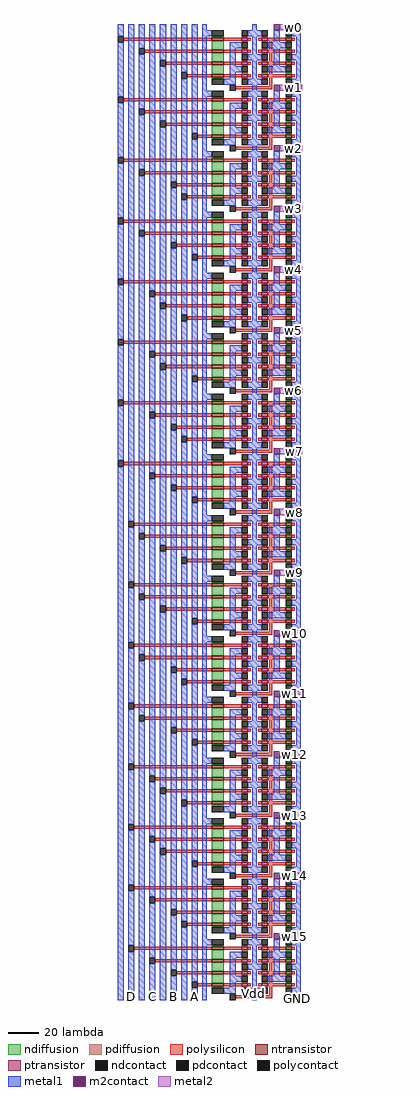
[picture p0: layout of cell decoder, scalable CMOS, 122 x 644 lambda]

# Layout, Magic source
magic
tech scmos
<< ntransistor >>
rect 13 530 21 532
rect 62 530 66 532
rect 13 522 21 524
rect 62 522 66 524
rect 13 514 21 516
rect 62 514 66 516
rect 13 506 21 508
rect 62 506 66 508
rect 13 490 21 492
rect 62 490 66 492
rect 13 482 21 484
rect 62 482 66 484
rect 13 474 21 476
rect 62 474 66 476
rect 13 466 21 468
rect 62 466 66 468
rect 13 450 21 452
rect 62 450 66 452
rect 13 442 21 444
rect 62 442 66 444
rect 13 434 21 436
rect 62 434 66 436
rect 13 426 21 428
rect 62 426 66 428
rect 13 410 21 412
rect 62 410 66 412
rect 13 402 21 404
rect 62 402 66 404
rect 13 394 21 396
rect 62 394 66 396
rect 13 386 21 388
rect 62 386 66 388
rect 13 370 21 372
rect 62 370 66 372
rect 13 362 21 364
rect 62 362 66 364
rect 13 354 21 356
rect 62 354 66 356
rect 13 346 21 348
rect 62 346 66 348
rect 13 330 21 332
rect 62 330 66 332
rect 13 322 21 324
rect 62 322 66 324
rect 13 314 21 316
rect 62 314 66 316
rect 13 306 21 308
rect 62 306 66 308
rect 13 290 21 292
rect 62 290 66 292
rect 13 282 21 284
rect 62 282 66 284
rect 13 274 21 276
rect 62 274 66 276
rect 13 266 21 268
rect 62 266 66 268
rect 13 250 21 252
rect 62 250 66 252
rect 13 242 21 244
rect 62 242 66 244
rect 13 234 21 236
rect 62 234 66 236
rect 13 226 21 228
rect 62 226 66 228
rect 13 210 21 212
rect 62 210 66 212
rect 13 202 21 204
rect 62 202 66 204
rect 13 194 21 196
rect 62 194 66 196
rect 13 186 21 188
rect 62 186 66 188
rect 13 170 21 172
rect 62 170 66 172
rect 13 162 21 164
rect 62 162 66 164
rect 13 154 21 156
rect 62 154 66 156
rect 13 146 21 148
rect 62 146 66 148
rect 13 130 21 132
rect 62 130 66 132
rect 13 122 21 124
rect 62 122 66 124
rect 13 114 21 116
rect 62 114 66 116
rect 13 106 21 108
rect 62 106 66 108
rect 13 90 21 92
rect 62 90 66 92
rect 13 82 21 84
rect 62 82 66 84
rect 13 74 21 76
rect 62 74 66 76
rect 13 66 21 68
rect 62 66 66 68
rect 13 50 21 52
rect 62 50 66 52
rect 13 42 21 44
rect 62 42 66 44
rect 13 34 21 36
rect 62 34 66 36
rect 13 26 21 28
rect 62 26 66 28
rect 13 10 21 12
rect 62 10 66 12
rect 13 2 21 4
rect 62 2 66 4
rect 13 -6 21 -4
rect 62 -6 66 -4
rect 13 -14 21 -12
rect 62 -14 66 -12
rect 13 -30 21 -28
rect 62 -30 66 -28
rect 13 -38 21 -36
rect 62 -38 66 -36
rect 13 -46 21 -44
rect 62 -46 66 -44
rect 13 -54 21 -52
rect 62 -54 66 -52
rect 13 -70 21 -68
rect 62 -70 66 -68
rect 13 -78 21 -76
rect 62 -78 66 -76
rect 13 -86 21 -84
rect 62 -86 66 -84
rect 13 -94 21 -92
rect 62 -94 66 -92
<< ptransistor >>
rect 33 530 37 532
rect 46 530 50 532
rect 33 522 37 524
rect 46 522 50 524
rect 33 514 37 516
rect 46 514 50 516
rect 33 506 37 508
rect 46 506 50 508
rect 33 490 37 492
rect 46 490 50 492
rect 33 482 37 484
rect 46 482 50 484
rect 33 474 37 476
rect 46 474 50 476
rect 33 466 37 468
rect 46 466 50 468
rect 33 450 37 452
rect 46 450 50 452
rect 33 442 37 444
rect 46 442 50 444
rect 33 434 37 436
rect 46 434 50 436
rect 33 426 37 428
rect 46 426 50 428
rect 33 410 37 412
rect 46 410 50 412
rect 33 402 37 404
rect 46 402 50 404
rect 33 394 37 396
rect 46 394 50 396
rect 33 386 37 388
rect 46 386 50 388
rect 33 370 37 372
rect 46 370 50 372
rect 33 362 37 364
rect 46 362 50 364
rect 33 354 37 356
rect 46 354 50 356
rect 33 346 37 348
rect 46 346 50 348
rect 33 330 37 332
rect 46 330 50 332
rect 33 322 37 324
rect 46 322 50 324
rect 33 314 37 316
rect 46 314 50 316
rect 33 306 37 308
rect 46 306 50 308
rect 33 290 37 292
rect 46 290 50 292
rect 33 282 37 284
rect 46 282 50 284
rect 33 274 37 276
rect 46 274 50 276
rect 33 266 37 268
rect 46 266 50 268
rect 33 250 37 252
rect 46 250 50 252
rect 33 242 37 244
rect 46 242 50 244
rect 33 234 37 236
rect 46 234 50 236
rect 33 226 37 228
rect 46 226 50 228
rect 33 210 37 212
rect 46 210 50 212
rect 33 202 37 204
rect 46 202 50 204
rect 33 194 37 196
rect 46 194 50 196
rect 33 186 37 188
rect 46 186 50 188
rect 33 170 37 172
rect 46 170 50 172
rect 33 162 37 164
rect 46 162 50 164
rect 33 154 37 156
rect 46 154 50 156
rect 33 146 37 148
rect 46 146 50 148
rect 33 130 37 132
rect 46 130 50 132
rect 33 122 37 124
rect 46 122 50 124
rect 33 114 37 116
rect 46 114 50 116
rect 33 106 37 108
rect 46 106 50 108
rect 33 90 37 92
rect 46 90 50 92
rect 33 82 37 84
rect 46 82 50 84
rect 33 74 37 76
rect 46 74 50 76
rect 33 66 37 68
rect 46 66 50 68
rect 33 50 37 52
rect 46 50 50 52
rect 33 42 37 44
rect 46 42 50 44
rect 33 34 37 36
rect 46 34 50 36
rect 33 26 37 28
rect 46 26 50 28
rect 33 10 37 12
rect 46 10 50 12
rect 33 2 37 4
rect 46 2 50 4
rect 33 -6 37 -4
rect 46 -6 50 -4
rect 33 -14 37 -12
rect 46 -14 50 -12
rect 33 -30 37 -28
rect 46 -30 50 -28
rect 33 -38 37 -36
rect 46 -38 50 -36
rect 33 -46 37 -44
rect 46 -46 50 -44
rect 33 -54 37 -52
rect 46 -54 50 -52
rect 33 -70 37 -68
rect 46 -70 50 -68
rect 33 -78 37 -76
rect 46 -78 50 -76
rect 33 -86 37 -84
rect 46 -86 50 -84
rect 33 -94 37 -92
rect 46 -94 50 -92
<< ndiffusion >>
rect 13 532 21 533
rect 62 532 66 533
rect 13 524 21 530
rect 62 529 66 530
rect 62 524 66 525
rect 13 516 21 522
rect 62 521 66 522
rect 62 516 66 517
rect 13 508 21 514
rect 62 513 66 514
rect 62 508 66 509
rect 13 505 21 506
rect 62 505 66 506
rect 13 492 21 493
rect 62 492 66 493
rect 13 484 21 490
rect 62 489 66 490
rect 62 484 66 485
rect 13 476 21 482
rect 62 481 66 482
rect 62 476 66 477
rect 13 468 21 474
rect 62 473 66 474
rect 62 468 66 469
rect 13 465 21 466
rect 62 465 66 466
rect 13 452 21 453
rect 62 452 66 453
rect 13 444 21 450
rect 62 449 66 450
rect 62 444 66 445
rect 13 436 21 442
rect 62 441 66 442
rect 62 436 66 437
rect 13 428 21 434
rect 62 433 66 434
rect 62 428 66 429
rect 13 425 21 426
rect 62 425 66 426
rect 13 412 21 413
rect 62 412 66 413
rect 13 404 21 410
rect 62 409 66 410
rect 62 404 66 405
rect 13 396 21 402
rect 62 401 66 402
rect 62 396 66 397
rect 13 388 21 394
rect 62 393 66 394
rect 62 388 66 389
rect 13 385 21 386
rect 62 385 66 386
rect 13 372 21 373
rect 62 372 66 373
rect 13 364 21 370
rect 62 369 66 370
rect 62 364 66 365
rect 13 356 21 362
rect 62 361 66 362
rect 62 356 66 357
rect 13 348 21 354
rect 62 353 66 354
rect 62 348 66 349
rect 13 345 21 346
rect 62 345 66 346
rect 13 332 21 333
rect 62 332 66 333
rect 13 324 21 330
rect 62 329 66 330
rect 62 324 66 325
rect 13 316 21 322
rect 62 321 66 322
rect 62 316 66 317
rect 13 308 21 314
rect 62 313 66 314
rect 62 308 66 309
rect 13 305 21 306
rect 62 305 66 306
rect 13 292 21 293
rect 62 292 66 293
rect 13 284 21 290
rect 62 289 66 290
rect 62 284 66 285
rect 13 276 21 282
rect 62 281 66 282
rect 62 276 66 277
rect 13 268 21 274
rect 62 273 66 274
rect 62 268 66 269
rect 13 265 21 266
rect 62 265 66 266
rect 13 252 21 253
rect 62 252 66 253
rect 13 244 21 250
rect 62 249 66 250
rect 62 244 66 245
rect 13 236 21 242
rect 62 241 66 242
rect 62 236 66 237
rect 13 228 21 234
rect 62 233 66 234
rect 62 228 66 229
rect 13 225 21 226
rect 62 225 66 226
rect 13 212 21 213
rect 62 212 66 213
rect 13 204 21 210
rect 62 209 66 210
rect 62 204 66 205
rect 13 196 21 202
rect 62 201 66 202
rect 62 196 66 197
rect 13 188 21 194
rect 62 193 66 194
rect 62 188 66 189
rect 13 185 21 186
rect 62 185 66 186
rect 13 172 21 173
rect 62 172 66 173
rect 13 164 21 170
rect 62 169 66 170
rect 62 164 66 165
rect 13 156 21 162
rect 62 161 66 162
rect 62 156 66 157
rect 13 148 21 154
rect 62 153 66 154
rect 62 148 66 149
rect 13 145 21 146
rect 62 145 66 146
rect 13 132 21 133
rect 62 132 66 133
rect 13 124 21 130
rect 62 129 66 130
rect 62 124 66 125
rect 13 116 21 122
rect 62 121 66 122
rect 62 116 66 117
rect 13 108 21 114
rect 62 113 66 114
rect 62 108 66 109
rect 13 105 21 106
rect 62 105 66 106
rect 13 92 21 93
rect 62 92 66 93
rect 13 84 21 90
rect 62 89 66 90
rect 62 84 66 85
rect 13 76 21 82
rect 62 81 66 82
rect 62 76 66 77
rect 13 68 21 74
rect 62 73 66 74
rect 62 68 66 69
rect 13 65 21 66
rect 62 65 66 66
rect 13 52 21 53
rect 62 52 66 53
rect 13 44 21 50
rect 62 49 66 50
rect 62 44 66 45
rect 13 36 21 42
rect 62 41 66 42
rect 62 36 66 37
rect 13 28 21 34
rect 62 33 66 34
rect 62 28 66 29
rect 13 25 21 26
rect 62 25 66 26
rect 13 12 21 13
rect 62 12 66 13
rect 13 4 21 10
rect 62 9 66 10
rect 62 4 66 5
rect 13 -4 21 2
rect 62 1 66 2
rect 62 -4 66 -3
rect 13 -12 21 -6
rect 62 -7 66 -6
rect 62 -12 66 -11
rect 13 -15 21 -14
rect 62 -15 66 -14
rect 13 -28 21 -27
rect 62 -28 66 -27
rect 13 -36 21 -30
rect 62 -31 66 -30
rect 62 -36 66 -35
rect 13 -44 21 -38
rect 62 -39 66 -38
rect 62 -44 66 -43
rect 13 -52 21 -46
rect 62 -47 66 -46
rect 62 -52 66 -51
rect 13 -55 21 -54
rect 62 -55 66 -54
rect 13 -68 21 -67
rect 62 -68 66 -67
rect 13 -76 21 -70
rect 62 -71 66 -70
rect 62 -76 66 -75
rect 13 -84 21 -78
rect 62 -79 66 -78
rect 62 -84 66 -83
rect 13 -92 21 -86
rect 62 -87 66 -86
rect 62 -92 66 -91
rect 13 -95 21 -94
rect 62 -95 66 -94
<< pdiffusion >>
rect 33 532 37 533
rect 46 532 50 533
rect 33 529 37 530
rect 33 524 37 525
rect 46 529 50 530
rect 46 524 50 525
rect 33 521 37 522
rect 33 516 37 517
rect 46 521 50 522
rect 46 516 50 517
rect 33 513 37 514
rect 33 508 37 509
rect 46 513 50 514
rect 46 508 50 509
rect 33 505 37 506
rect 46 505 50 506
rect 33 492 37 493
rect 46 492 50 493
rect 33 489 37 490
rect 33 484 37 485
rect 46 489 50 490
rect 46 484 50 485
rect 33 481 37 482
rect 33 476 37 477
rect 46 481 50 482
rect 46 476 50 477
rect 33 473 37 474
rect 33 468 37 469
rect 46 473 50 474
rect 46 468 50 469
rect 33 465 37 466
rect 46 465 50 466
rect 33 452 37 453
rect 46 452 50 453
rect 33 449 37 450
rect 33 444 37 445
rect 46 449 50 450
rect 46 444 50 445
rect 33 441 37 442
rect 33 436 37 437
rect 46 441 50 442
rect 46 436 50 437
rect 33 433 37 434
rect 33 428 37 429
rect 46 433 50 434
rect 46 428 50 429
rect 33 425 37 426
rect 46 425 50 426
rect 33 412 37 413
rect 46 412 50 413
rect 33 409 37 410
rect 33 404 37 405
rect 46 409 50 410
rect 46 404 50 405
rect 33 401 37 402
rect 33 396 37 397
rect 46 401 50 402
rect 46 396 50 397
rect 33 393 37 394
rect 33 388 37 389
rect 46 393 50 394
rect 46 388 50 389
rect 33 385 37 386
rect 46 385 50 386
rect 33 372 37 373
rect 46 372 50 373
rect 33 369 37 370
rect 33 364 37 365
rect 46 369 50 370
rect 46 364 50 365
rect 33 361 37 362
rect 33 356 37 357
rect 46 361 50 362
rect 46 356 50 357
rect 33 353 37 354
rect 33 348 37 349
rect 46 353 50 354
rect 46 348 50 349
rect 33 345 37 346
rect 46 345 50 346
rect 33 332 37 333
rect 46 332 50 333
rect 33 329 37 330
rect 33 324 37 325
rect 46 329 50 330
rect 46 324 50 325
rect 33 321 37 322
rect 33 316 37 317
rect 46 321 50 322
rect 46 316 50 317
rect 33 313 37 314
rect 33 308 37 309
rect 46 313 50 314
rect 46 308 50 309
rect 33 305 37 306
rect 46 305 50 306
rect 33 292 37 293
rect 46 292 50 293
rect 33 289 37 290
rect 33 284 37 285
rect 46 289 50 290
rect 46 284 50 285
rect 33 281 37 282
rect 33 276 37 277
rect 46 281 50 282
rect 46 276 50 277
rect 33 273 37 274
rect 33 268 37 269
rect 46 273 50 274
rect 46 268 50 269
rect 33 265 37 266
rect 46 265 50 266
rect 33 252 37 253
rect 46 252 50 253
rect 33 249 37 250
rect 33 244 37 245
rect 46 249 50 250
rect 46 244 50 245
rect 33 241 37 242
rect 33 236 37 237
rect 46 241 50 242
rect 46 236 50 237
rect 33 233 37 234
rect 33 228 37 229
rect 46 233 50 234
rect 46 228 50 229
rect 33 225 37 226
rect 46 225 50 226
rect 33 212 37 213
rect 46 212 50 213
rect 33 209 37 210
rect 33 204 37 205
rect 46 209 50 210
rect 46 204 50 205
rect 33 201 37 202
rect 33 196 37 197
rect 46 201 50 202
rect 46 196 50 197
rect 33 193 37 194
rect 33 188 37 189
rect 46 193 50 194
rect 46 188 50 189
rect 33 185 37 186
rect 46 185 50 186
rect 33 172 37 173
rect 46 172 50 173
rect 33 169 37 170
rect 33 164 37 165
rect 46 169 50 170
rect 46 164 50 165
rect 33 161 37 162
rect 33 156 37 157
rect 46 161 50 162
rect 46 156 50 157
rect 33 153 37 154
rect 33 148 37 149
rect 46 153 50 154
rect 46 148 50 149
rect 33 145 37 146
rect 46 145 50 146
rect 33 132 37 133
rect 46 132 50 133
rect 33 129 37 130
rect 33 124 37 125
rect 46 129 50 130
rect 46 124 50 125
rect 33 121 37 122
rect 33 116 37 117
rect 46 121 50 122
rect 46 116 50 117
rect 33 113 37 114
rect 33 108 37 109
rect 46 113 50 114
rect 46 108 50 109
rect 33 105 37 106
rect 46 105 50 106
rect 33 92 37 93
rect 46 92 50 93
rect 33 89 37 90
rect 33 84 37 85
rect 46 89 50 90
rect 46 84 50 85
rect 33 81 37 82
rect 33 76 37 77
rect 46 81 50 82
rect 46 76 50 77
rect 33 73 37 74
rect 33 68 37 69
rect 46 73 50 74
rect 46 68 50 69
rect 33 65 37 66
rect 46 65 50 66
rect 33 52 37 53
rect 46 52 50 53
rect 33 49 37 50
rect 33 44 37 45
rect 46 49 50 50
rect 46 44 50 45
rect 33 41 37 42
rect 33 36 37 37
rect 46 41 50 42
rect 46 36 50 37
rect 33 33 37 34
rect 33 28 37 29
rect 46 33 50 34
rect 46 28 50 29
rect 33 25 37 26
rect 46 25 50 26
rect 33 12 37 13
rect 46 12 50 13
rect 33 9 37 10
rect 33 4 37 5
rect 46 9 50 10
rect 46 4 50 5
rect 33 1 37 2
rect 33 -4 37 -3
rect 46 1 50 2
rect 46 -4 50 -3
rect 33 -7 37 -6
rect 33 -12 37 -11
rect 46 -7 50 -6
rect 46 -12 50 -11
rect 33 -15 37 -14
rect 46 -15 50 -14
rect 33 -28 37 -27
rect 46 -28 50 -27
rect 33 -31 37 -30
rect 33 -36 37 -35
rect 46 -31 50 -30
rect 46 -36 50 -35
rect 33 -39 37 -38
rect 33 -44 37 -43
rect 46 -39 50 -38
rect 46 -44 50 -43
rect 33 -47 37 -46
rect 33 -52 37 -51
rect 46 -47 50 -46
rect 46 -52 50 -51
rect 33 -55 37 -54
rect 46 -55 50 -54
rect 33 -68 37 -67
rect 46 -68 50 -67
rect 33 -71 37 -70
rect 33 -76 37 -75
rect 46 -71 50 -70
rect 46 -76 50 -75
rect 33 -79 37 -78
rect 33 -84 37 -83
rect 46 -79 50 -78
rect 46 -84 50 -83
rect 33 -87 37 -86
rect 33 -92 37 -91
rect 46 -87 50 -86
rect 46 -92 50 -91
rect 33 -95 37 -94
rect 46 -95 50 -94
<< ndcontact >>
rect 13 533 21 537
rect 62 533 66 537
rect 62 525 66 529
rect 62 517 66 521
rect 62 509 66 513
rect 13 501 21 505
rect 62 501 66 505
rect 13 493 21 497
rect 62 493 66 497
rect 62 485 66 489
rect 62 477 66 481
rect 62 469 66 473
rect 13 461 21 465
rect 62 461 66 465
rect 13 453 21 457
rect 62 453 66 457
rect 62 445 66 449
rect 62 437 66 441
rect 62 429 66 433
rect 13 421 21 425
rect 62 421 66 425
rect 13 413 21 417
rect 62 413 66 417
rect 62 405 66 409
rect 62 397 66 401
rect 62 389 66 393
rect 13 381 21 385
rect 62 381 66 385
rect 13 373 21 377
rect 62 373 66 377
rect 62 365 66 369
rect 62 357 66 361
rect 62 349 66 353
rect 13 341 21 345
rect 62 341 66 345
rect 13 333 21 337
rect 62 333 66 337
rect 62 325 66 329
rect 62 317 66 321
rect 62 309 66 313
rect 13 301 21 305
rect 62 301 66 305
rect 13 293 21 297
rect 62 293 66 297
rect 62 285 66 289
rect 62 277 66 281
rect 62 269 66 273
rect 13 261 21 265
rect 62 261 66 265
rect 13 253 21 257
rect 62 253 66 257
rect 62 245 66 249
rect 62 237 66 241
rect 62 229 66 233
rect 13 221 21 225
rect 62 221 66 225
rect 13 213 21 217
rect 62 213 66 217
rect 62 205 66 209
rect 62 197 66 201
rect 62 189 66 193
rect 13 181 21 185
rect 62 181 66 185
rect 13 173 21 177
rect 62 173 66 177
rect 62 165 66 169
rect 62 157 66 161
rect 62 149 66 153
rect 13 141 21 145
rect 62 141 66 145
rect 13 133 21 137
rect 62 133 66 137
rect 62 125 66 129
rect 62 117 66 121
rect 62 109 66 113
rect 13 101 21 105
rect 62 101 66 105
rect 13 93 21 97
rect 62 93 66 97
rect 62 85 66 89
rect 62 77 66 81
rect 62 69 66 73
rect 13 61 21 65
rect 62 61 66 65
rect 13 53 21 57
rect 62 53 66 57
rect 62 45 66 49
rect 62 37 66 41
rect 62 29 66 33
rect 13 21 21 25
rect 62 21 66 25
rect 13 13 21 17
rect 62 13 66 17
rect 62 5 66 9
rect 62 -3 66 1
rect 62 -11 66 -7
rect 13 -19 21 -15
rect 62 -19 66 -15
rect 13 -27 21 -23
rect 62 -27 66 -23
rect 62 -35 66 -31
rect 62 -43 66 -39
rect 62 -51 66 -47
rect 13 -59 21 -55
rect 62 -59 66 -55
rect 13 -67 21 -63
rect 62 -67 66 -63
rect 62 -75 66 -71
rect 62 -83 66 -79
rect 62 -91 66 -87
rect 13 -99 21 -95
rect 62 -99 66 -95
<< pdcontact >>
rect 33 533 37 537
rect 46 533 50 537
rect 33 525 37 529
rect 46 525 50 529
rect 33 517 37 521
rect 46 517 50 521
rect 33 509 37 513
rect 46 509 50 513
rect 33 501 37 505
rect 46 501 50 505
rect 33 493 37 497
rect 46 493 50 497
rect 33 485 37 489
rect 46 485 50 489
rect 33 477 37 481
rect 46 477 50 481
rect 33 469 37 473
rect 46 469 50 473
rect 33 461 37 465
rect 46 461 50 465
rect 33 453 37 457
rect 46 453 50 457
rect 33 445 37 449
rect 46 445 50 449
rect 33 437 37 441
rect 46 437 50 441
rect 33 429 37 433
rect 46 429 50 433
rect 33 421 37 425
rect 46 421 50 425
rect 33 413 37 417
rect 46 413 50 417
rect 33 405 37 409
rect 46 405 50 409
rect 33 397 37 401
rect 46 397 50 401
rect 33 389 37 393
rect 46 389 50 393
rect 33 381 37 385
rect 46 381 50 385
rect 33 373 37 377
rect 46 373 50 377
rect 33 365 37 369
rect 46 365 50 369
rect 33 357 37 361
rect 46 357 50 361
rect 33 349 37 353
rect 46 349 50 353
rect 33 341 37 345
rect 46 341 50 345
rect 33 333 37 337
rect 46 333 50 337
rect 33 325 37 329
rect 46 325 50 329
rect 33 317 37 321
rect 46 317 50 321
rect 33 309 37 313
rect 46 309 50 313
rect 33 301 37 305
rect 46 301 50 305
rect 33 293 37 297
rect 46 293 50 297
rect 33 285 37 289
rect 46 285 50 289
rect 33 277 37 281
rect 46 277 50 281
rect 33 269 37 273
rect 46 269 50 273
rect 33 261 37 265
rect 46 261 50 265
rect 33 253 37 257
rect 46 253 50 257
rect 33 245 37 249
rect 46 245 50 249
rect 33 237 37 241
rect 46 237 50 241
rect 33 229 37 233
rect 46 229 50 233
rect 33 221 37 225
rect 46 221 50 225
rect 33 213 37 217
rect 46 213 50 217
rect 33 205 37 209
rect 46 205 50 209
rect 33 197 37 201
rect 46 197 50 201
rect 33 189 37 193
rect 46 189 50 193
rect 33 181 37 185
rect 46 181 50 185
rect 33 173 37 177
rect 46 173 50 177
rect 33 165 37 169
rect 46 165 50 169
rect 33 157 37 161
rect 46 157 50 161
rect 33 149 37 153
rect 46 149 50 153
rect 33 141 37 145
rect 46 141 50 145
rect 33 133 37 137
rect 46 133 50 137
rect 33 125 37 129
rect 46 125 50 129
rect 33 117 37 121
rect 46 117 50 121
rect 33 109 37 113
rect 46 109 50 113
rect 33 101 37 105
rect 46 101 50 105
rect 33 93 37 97
rect 46 93 50 97
rect 33 85 37 89
rect 46 85 50 89
rect 33 77 37 81
rect 46 77 50 81
rect 33 69 37 73
rect 46 69 50 73
rect 33 61 37 65
rect 46 61 50 65
rect 33 53 37 57
rect 46 53 50 57
rect 33 45 37 49
rect 46 45 50 49
rect 33 37 37 41
rect 46 37 50 41
rect 33 29 37 33
rect 46 29 50 33
rect 33 21 37 25
rect 46 21 50 25
rect 33 13 37 17
rect 46 13 50 17
rect 33 5 37 9
rect 46 5 50 9
rect 33 -3 37 1
rect 46 -3 50 1
rect 33 -11 37 -7
rect 46 -11 50 -7
rect 33 -19 37 -15
rect 46 -19 50 -15
rect 33 -27 37 -23
rect 46 -27 50 -23
rect 33 -35 37 -31
rect 46 -35 50 -31
rect 33 -43 37 -39
rect 46 -43 50 -39
rect 33 -51 37 -47
rect 46 -51 50 -47
rect 33 -59 37 -55
rect 46 -59 50 -55
rect 33 -67 37 -63
rect 46 -67 50 -63
rect 33 -75 37 -71
rect 46 -75 50 -71
rect 33 -83 37 -79
rect 46 -83 50 -79
rect 33 -91 37 -87
rect 46 -91 50 -87
rect 33 -99 37 -95
rect 46 -99 50 -95
<< polysilicon >>
rect -45 530 13 532
rect 21 530 33 532
rect 37 530 39 532
rect 44 530 46 532
rect 50 530 62 532
rect 66 530 68 532
rect 51 524 53 530
rect -31 522 13 524
rect 21 522 33 524
rect 37 522 39 524
rect 44 522 46 524
rect 50 522 62 524
rect 66 522 68 524
rect 51 516 53 522
rect -17 514 13 516
rect 21 514 33 516
rect 37 514 39 516
rect 44 514 46 516
rect 50 514 62 516
rect 66 514 68 516
rect 51 508 53 514
rect -3 506 13 508
rect 21 506 33 508
rect 37 506 39 508
rect 44 506 46 508
rect 50 506 62 508
rect 66 506 68 508
rect 51 500 53 506
rect 29 498 53 500
rect -45 490 13 492
rect 21 490 33 492
rect 37 490 39 492
rect 44 490 46 492
rect 50 490 62 492
rect 66 490 68 492
rect 51 484 53 490
rect -31 482 13 484
rect 21 482 33 484
rect 37 482 39 484
rect 44 482 46 484
rect 50 482 62 484
rect 66 482 68 484
rect 51 476 53 482
rect -17 474 13 476
rect 21 474 33 476
rect 37 474 39 476
rect 44 474 46 476
rect 50 474 62 476
rect 66 474 68 476
rect 51 468 53 474
rect 4 466 13 468
rect 21 466 33 468
rect 37 466 39 468
rect 44 466 46 468
rect 50 466 62 468
rect 66 466 68 468
rect 51 460 53 466
rect 29 458 53 460
rect -45 450 13 452
rect 21 450 33 452
rect 37 450 39 452
rect 44 450 46 452
rect 50 450 62 452
rect 66 450 68 452
rect 51 444 53 450
rect -31 442 13 444
rect 21 442 33 444
rect 37 442 39 444
rect 44 442 46 444
rect 50 442 62 444
rect 66 442 68 444
rect 51 436 53 442
rect -10 434 13 436
rect 21 434 33 436
rect 37 434 39 436
rect 44 434 46 436
rect 50 434 62 436
rect 66 434 68 436
rect 51 428 53 434
rect -3 426 13 428
rect 21 426 33 428
rect 37 426 39 428
rect 44 426 46 428
rect 50 426 62 428
rect 66 426 68 428
rect 51 420 53 426
rect 29 418 53 420
rect -45 410 13 412
rect 21 410 33 412
rect 37 410 39 412
rect 44 410 46 412
rect 50 410 62 412
rect 66 410 68 412
rect 51 404 53 410
rect -31 402 13 404
rect 21 402 33 404
rect 37 402 39 404
rect 44 402 46 404
rect 50 402 62 404
rect 66 402 68 404
rect 51 396 53 402
rect -10 394 13 396
rect 21 394 33 396
rect 37 394 39 396
rect 44 394 46 396
rect 50 394 62 396
rect 66 394 68 396
rect 51 388 53 394
rect 4 386 13 388
rect 21 386 33 388
rect 37 386 39 388
rect 44 386 46 388
rect 50 386 62 388
rect 66 386 68 388
rect 51 380 53 386
rect 29 378 53 380
rect -45 370 13 372
rect 21 370 33 372
rect 37 370 39 372
rect 44 370 46 372
rect 50 370 62 372
rect 66 370 68 372
rect 51 364 53 370
rect -24 362 13 364
rect 21 362 33 364
rect 37 362 39 364
rect 44 362 46 364
rect 50 362 62 364
rect 66 362 68 364
rect 51 356 53 362
rect -17 354 13 356
rect 21 354 33 356
rect 37 354 39 356
rect 44 354 46 356
rect 50 354 62 356
rect 66 354 68 356
rect 51 348 53 354
rect -3 346 13 348
rect 21 346 33 348
rect 37 346 39 348
rect 44 346 46 348
rect 50 346 62 348
rect 66 346 68 348
rect 51 340 53 346
rect 29 338 53 340
rect -45 330 13 332
rect 21 330 33 332
rect 37 330 39 332
rect 44 330 46 332
rect 50 330 62 332
rect 66 330 68 332
rect 51 324 53 330
rect -24 322 13 324
rect 21 322 33 324
rect 37 322 39 324
rect 44 322 46 324
rect 50 322 62 324
rect 66 322 68 324
rect 51 316 53 322
rect -17 314 13 316
rect 21 314 33 316
rect 37 314 39 316
rect 44 314 46 316
rect 50 314 62 316
rect 66 314 68 316
rect 51 308 53 314
rect 4 306 13 308
rect 21 306 33 308
rect 37 306 39 308
rect 44 306 46 308
rect 50 306 62 308
rect 66 306 68 308
rect 51 300 53 306
rect 29 298 53 300
rect -45 290 13 292
rect 21 290 33 292
rect 37 290 39 292
rect 44 290 46 292
rect 50 290 62 292
rect 66 290 68 292
rect 51 284 53 290
rect -24 282 13 284
rect 21 282 33 284
rect 37 282 39 284
rect 44 282 46 284
rect 50 282 62 284
rect 66 282 68 284
rect 51 276 53 282
rect -10 274 13 276
rect 21 274 33 276
rect 37 274 39 276
rect 44 274 46 276
rect 50 274 62 276
rect 66 274 68 276
rect 51 268 53 274
rect -3 266 13 268
rect 21 266 33 268
rect 37 266 39 268
rect 44 266 46 268
rect 50 266 62 268
rect 66 266 68 268
rect 51 260 53 266
rect 29 258 53 260
rect -45 250 13 252
rect 21 250 33 252
rect 37 250 39 252
rect 44 250 46 252
rect 50 250 62 252
rect 66 250 68 252
rect 51 244 53 250
rect -24 242 13 244
rect 21 242 33 244
rect 37 242 39 244
rect 44 242 46 244
rect 50 242 62 244
rect 66 242 68 244
rect 51 236 53 242
rect -10 234 13 236
rect 21 234 33 236
rect 37 234 39 236
rect 44 234 46 236
rect 50 234 62 236
rect 66 234 68 236
rect 51 228 53 234
rect 4 226 13 228
rect 21 226 33 228
rect 37 226 39 228
rect 44 226 46 228
rect 50 226 62 228
rect 66 226 68 228
rect 51 220 53 226
rect 29 218 53 220
rect -38 210 13 212
rect 21 210 33 212
rect 37 210 39 212
rect 44 210 46 212
rect 50 210 62 212
rect 66 210 68 212
rect 51 204 53 210
rect -31 202 13 204
rect 21 202 33 204
rect 37 202 39 204
rect 44 202 46 204
rect 50 202 62 204
rect 66 202 68 204
rect 51 196 53 202
rect -17 194 13 196
rect 21 194 33 196
rect 37 194 39 196
rect 44 194 46 196
rect 50 194 62 196
rect 66 194 68 196
rect 51 188 53 194
rect -3 186 13 188
rect 21 186 33 188
rect 37 186 39 188
rect 44 186 46 188
rect 50 186 62 188
rect 66 186 68 188
rect 51 180 53 186
rect 29 178 53 180
rect -38 170 13 172
rect 21 170 33 172
rect 37 170 39 172
rect 44 170 46 172
rect 50 170 62 172
rect 66 170 68 172
rect 51 164 53 170
rect -31 162 13 164
rect 21 162 33 164
rect 37 162 39 164
rect 44 162 46 164
rect 50 162 62 164
rect 66 162 68 164
rect 51 156 53 162
rect -17 154 13 156
rect 21 154 33 156
rect 37 154 39 156
rect 44 154 46 156
rect 50 154 62 156
rect 66 154 68 156
rect 51 148 53 154
rect 4 146 13 148
rect 21 146 33 148
rect 37 146 39 148
rect 44 146 46 148
rect 50 146 62 148
rect 66 146 68 148
rect 51 140 53 146
rect 29 138 53 140
rect -38 130 13 132
rect 21 130 33 132
rect 37 130 39 132
rect 44 130 46 132
rect 50 130 62 132
rect 66 130 68 132
rect 51 124 53 130
rect -31 122 13 124
rect 21 122 33 124
rect 37 122 39 124
rect 44 122 46 124
rect 50 122 62 124
rect 66 122 68 124
rect 51 116 53 122
rect -10 114 13 116
rect 21 114 33 116
rect 37 114 39 116
rect 44 114 46 116
rect 50 114 62 116
rect 66 114 68 116
rect 51 108 53 114
rect -3 106 13 108
rect 21 106 33 108
rect 37 106 39 108
rect 44 106 46 108
rect 50 106 62 108
rect 66 106 68 108
rect 51 100 53 106
rect 29 98 53 100
rect -38 90 13 92
rect 21 90 33 92
rect 37 90 39 92
rect 44 90 46 92
rect 50 90 62 92
rect 66 90 68 92
rect 51 84 53 90
rect -31 82 13 84
rect 21 82 33 84
rect 37 82 39 84
rect 44 82 46 84
rect 50 82 62 84
rect 66 82 68 84
rect 51 76 53 82
rect -10 74 13 76
rect 21 74 33 76
rect 37 74 39 76
rect 44 74 46 76
rect 50 74 62 76
rect 66 74 68 76
rect 51 68 53 74
rect 4 66 13 68
rect 21 66 33 68
rect 37 66 39 68
rect 44 66 46 68
rect 50 66 62 68
rect 66 66 68 68
rect 51 60 53 66
rect 29 58 53 60
rect -38 50 13 52
rect 21 50 33 52
rect 37 50 39 52
rect 44 50 46 52
rect 50 50 62 52
rect 66 50 68 52
rect 51 44 53 50
rect -24 42 13 44
rect 21 42 33 44
rect 37 42 39 44
rect 44 42 46 44
rect 50 42 62 44
rect 66 42 68 44
rect 51 36 53 42
rect -17 34 13 36
rect 21 34 33 36
rect 37 34 39 36
rect 44 34 46 36
rect 50 34 62 36
rect 66 34 68 36
rect 51 28 53 34
rect -3 26 13 28
rect 21 26 33 28
rect 37 26 39 28
rect 44 26 46 28
rect 50 26 62 28
rect 66 26 68 28
rect 51 20 53 26
rect 29 18 53 20
rect -38 10 13 12
rect 21 10 33 12
rect 37 10 39 12
rect 44 10 46 12
rect 50 10 62 12
rect 66 10 68 12
rect 51 4 53 10
rect -24 2 13 4
rect 21 2 33 4
rect 37 2 39 4
rect 44 2 46 4
rect 50 2 62 4
rect 66 2 68 4
rect 51 -4 53 2
rect -17 -6 13 -4
rect 21 -6 33 -4
rect 37 -6 39 -4
rect 44 -6 46 -4
rect 50 -6 62 -4
rect 66 -6 68 -4
rect 51 -12 53 -6
rect 4 -14 13 -12
rect 21 -14 33 -12
rect 37 -14 39 -12
rect 44 -14 46 -12
rect 50 -14 62 -12
rect 66 -14 68 -12
rect 51 -20 53 -14
rect 29 -22 53 -20
rect -38 -30 13 -28
rect 21 -30 33 -28
rect 37 -30 39 -28
rect 44 -30 46 -28
rect 50 -30 62 -28
rect 66 -30 68 -28
rect 51 -36 53 -30
rect -24 -38 13 -36
rect 21 -38 33 -36
rect 37 -38 39 -36
rect 44 -38 46 -36
rect 50 -38 62 -36
rect 66 -38 68 -36
rect 51 -44 53 -38
rect -10 -46 13 -44
rect 21 -46 33 -44
rect 37 -46 39 -44
rect 44 -46 46 -44
rect 50 -46 62 -44
rect 66 -46 68 -44
rect 51 -52 53 -46
rect -3 -54 13 -52
rect 21 -54 33 -52
rect 37 -54 39 -52
rect 44 -54 46 -52
rect 50 -54 62 -52
rect 66 -54 68 -52
rect 51 -60 53 -54
rect 29 -62 53 -60
rect -38 -70 13 -68
rect 21 -70 33 -68
rect 37 -70 39 -68
rect 44 -70 46 -68
rect 50 -70 62 -68
rect 66 -70 68 -68
rect 51 -76 53 -70
rect -24 -78 13 -76
rect 21 -78 33 -76
rect 37 -78 39 -76
rect 44 -78 46 -76
rect 50 -78 62 -76
rect 66 -78 68 -76
rect 51 -84 53 -78
rect -10 -86 13 -84
rect 21 -86 33 -84
rect 37 -86 39 -84
rect 44 -86 46 -84
rect 50 -86 62 -84
rect 66 -86 68 -84
rect 51 -92 53 -86
rect 4 -94 13 -92
rect 21 -94 33 -92
rect 37 -94 39 -92
rect 44 -94 46 -92
rect 50 -94 62 -92
rect 66 -94 68 -92
rect 51 -100 53 -94
rect 29 -102 53 -100
<< polycontact >>
rect -49 529 -45 533
rect -35 521 -31 525
rect -21 513 -17 517
rect -7 505 -3 509
rect 25 497 29 501
rect -49 489 -45 493
rect -35 481 -31 485
rect -21 473 -17 477
rect 0 465 4 469
rect 25 457 29 461
rect -49 449 -45 453
rect -35 441 -31 445
rect -14 433 -10 437
rect -7 425 -3 429
rect 25 417 29 421
rect -49 409 -45 413
rect -35 401 -31 405
rect -14 393 -10 397
rect 0 385 4 389
rect 25 377 29 381
rect -49 369 -45 373
rect -28 361 -24 365
rect -21 353 -17 357
rect -7 345 -3 349
rect 25 337 29 341
rect -49 329 -45 333
rect -28 321 -24 325
rect -21 313 -17 317
rect 0 305 4 309
rect 25 297 29 301
rect -49 289 -45 293
rect -28 281 -24 285
rect -14 273 -10 277
rect -7 265 -3 269
rect 25 257 29 261
rect -49 249 -45 253
rect -28 241 -24 245
rect -14 233 -10 237
rect 0 225 4 229
rect 25 217 29 221
rect -42 209 -38 213
rect -35 201 -31 205
rect -21 193 -17 197
rect -7 185 -3 189
rect 25 177 29 181
rect -42 169 -38 173
rect -35 161 -31 165
rect -21 153 -17 157
rect 0 145 4 149
rect 25 137 29 141
rect -42 129 -38 133
rect -35 121 -31 125
rect -14 113 -10 117
rect -7 105 -3 109
rect 25 97 29 101
rect -42 89 -38 93
rect -35 81 -31 85
rect -14 73 -10 77
rect 0 65 4 69
rect 25 57 29 61
rect -42 49 -38 53
rect -28 41 -24 45
rect -21 33 -17 37
rect -7 25 -3 29
rect 25 17 29 21
rect -42 9 -38 13
rect -28 1 -24 5
rect -21 -7 -17 -3
rect 0 -15 4 -11
rect 25 -23 29 -19
rect -42 -31 -38 -27
rect -28 -39 -24 -35
rect -14 -47 -10 -43
rect -7 -55 -3 -51
rect 25 -63 29 -59
rect -42 -71 -38 -67
rect -28 -79 -24 -75
rect -14 -87 -10 -83
rect 0 -95 4 -91
rect 25 -103 29 -99
<< metal1 >>
rect -49 533 -45 541
rect -49 493 -45 529
rect -49 453 -45 489
rect -49 413 -45 449
rect -49 373 -45 409
rect -49 333 -45 369
rect -49 293 -45 329
rect -49 253 -45 289
rect -49 -103 -45 249
rect -42 213 -38 541
rect -42 173 -38 209
rect -42 133 -38 169
rect -42 93 -38 129
rect -42 53 -38 89
rect -42 13 -38 49
rect -42 -27 -38 9
rect -42 -67 -38 -31
rect -42 -103 -38 -71
rect -35 525 -31 541
rect -35 485 -31 521
rect -35 445 -31 481
rect -35 405 -31 441
rect -35 205 -31 401
rect -35 165 -31 201
rect -35 125 -31 161
rect -35 85 -31 121
rect -35 -103 -31 81
rect -28 365 -24 541
rect -28 325 -24 361
rect -28 285 -24 321
rect -28 245 -24 281
rect -28 45 -24 241
rect -28 5 -24 41
rect -28 -35 -24 1
rect -28 -75 -24 -39
rect -28 -103 -24 -79
rect -21 517 -17 541
rect -21 477 -17 513
rect -21 357 -17 473
rect -21 317 -17 353
rect -21 197 -17 313
rect -21 157 -17 193
rect -21 37 -17 153
rect -21 -3 -17 33
rect -21 -103 -17 -7
rect -14 437 -10 541
rect -14 397 -10 433
rect -14 277 -10 393
rect -14 237 -10 273
rect -14 117 -10 233
rect -14 77 -10 113
rect -14 -43 -10 73
rect -14 -83 -10 -47
rect -14 -103 -10 -87
rect -7 509 -3 541
rect -7 429 -3 505
rect -7 349 -3 425
rect -7 269 -3 345
rect -7 189 -3 265
rect -7 109 -3 185
rect -7 29 -3 105
rect -7 -51 -3 25
rect -7 -103 -3 -55
rect 0 469 4 541
rect 0 389 4 465
rect 0 309 4 385
rect 0 229 4 305
rect 0 149 4 225
rect 0 69 4 145
rect 0 -11 4 65
rect 0 -91 4 -15
rect 0 -103 4 -95
rect 7 537 10 541
rect 40 537 43 541
rect 69 537 72 541
rect 7 533 13 537
rect 37 533 46 537
rect 7 497 10 533
rect 25 525 33 529
rect 25 513 29 525
rect 40 521 43 533
rect 54 529 58 537
rect 66 533 72 537
rect 50 525 62 529
rect 37 517 46 521
rect 25 509 33 513
rect 25 505 29 509
rect 40 505 43 517
rect 54 513 58 525
rect 69 521 72 533
rect 66 517 72 521
rect 50 509 62 513
rect 69 505 72 517
rect 21 501 29 505
rect 37 501 46 505
rect 66 501 72 505
rect 40 497 43 501
rect 69 497 72 501
rect 7 493 13 497
rect 37 493 46 497
rect 7 457 10 493
rect 25 485 33 489
rect 25 473 29 485
rect 40 481 43 493
rect 54 489 58 497
rect 66 493 72 497
rect 50 485 62 489
rect 37 477 46 481
rect 25 469 33 473
rect 25 465 29 469
rect 40 465 43 477
rect 54 473 58 485
rect 69 481 72 493
rect 66 477 72 481
rect 50 469 62 473
rect 69 465 72 477
rect 21 461 29 465
rect 37 461 46 465
rect 66 461 72 465
rect 40 457 43 461
rect 69 457 72 461
rect 7 453 13 457
rect 37 453 46 457
rect 7 417 10 453
rect 25 445 33 449
rect 25 433 29 445
rect 40 441 43 453
rect 54 449 58 457
rect 66 453 72 457
rect 50 445 62 449
rect 37 437 46 441
rect 25 429 33 433
rect 25 425 29 429
rect 40 425 43 437
rect 54 433 58 445
rect 69 441 72 453
rect 66 437 72 441
rect 50 429 62 433
rect 69 425 72 437
rect 21 421 29 425
rect 37 421 46 425
rect 66 421 72 425
rect 40 417 43 421
rect 69 417 72 421
rect 7 413 13 417
rect 37 413 46 417
rect 7 377 10 413
rect 25 405 33 409
rect 25 393 29 405
rect 40 401 43 413
rect 54 409 58 417
rect 66 413 72 417
rect 50 405 62 409
rect 37 397 46 401
rect 25 389 33 393
rect 25 385 29 389
rect 40 385 43 397
rect 54 393 58 405
rect 69 401 72 413
rect 66 397 72 401
rect 50 389 62 393
rect 69 385 72 397
rect 21 381 29 385
rect 37 381 46 385
rect 66 381 72 385
rect 40 377 43 381
rect 69 377 72 381
rect 7 373 13 377
rect 37 373 46 377
rect 7 337 10 373
rect 25 365 33 369
rect 25 353 29 365
rect 40 361 43 373
rect 54 369 58 377
rect 66 373 72 377
rect 50 365 62 369
rect 37 357 46 361
rect 25 349 33 353
rect 25 345 29 349
rect 40 345 43 357
rect 54 353 58 365
rect 69 361 72 373
rect 66 357 72 361
rect 50 349 62 353
rect 69 345 72 357
rect 21 341 29 345
rect 37 341 46 345
rect 66 341 72 345
rect 40 337 43 341
rect 69 337 72 341
rect 7 333 13 337
rect 37 333 46 337
rect 7 297 10 333
rect 25 325 33 329
rect 25 313 29 325
rect 40 321 43 333
rect 54 329 58 337
rect 66 333 72 337
rect 50 325 62 329
rect 37 317 46 321
rect 25 309 33 313
rect 25 305 29 309
rect 40 305 43 317
rect 54 313 58 325
rect 69 321 72 333
rect 66 317 72 321
rect 50 309 62 313
rect 69 305 72 317
rect 21 301 29 305
rect 37 301 46 305
rect 66 301 72 305
rect 40 297 43 301
rect 69 297 72 301
rect 7 293 13 297
rect 37 293 46 297
rect 7 257 10 293
rect 25 285 33 289
rect 25 273 29 285
rect 40 281 43 293
rect 54 289 58 297
rect 66 293 72 297
rect 50 285 62 289
rect 37 277 46 281
rect 25 269 33 273
rect 25 265 29 269
rect 40 265 43 277
rect 54 273 58 285
rect 69 281 72 293
rect 66 277 72 281
rect 50 269 62 273
rect 69 265 72 277
rect 21 261 29 265
rect 37 261 46 265
rect 66 261 72 265
rect 40 257 43 261
rect 69 257 72 261
rect 7 253 13 257
rect 37 253 46 257
rect 7 217 10 253
rect 25 245 33 249
rect 25 233 29 245
rect 40 241 43 253
rect 54 249 58 257
rect 66 253 72 257
rect 50 245 62 249
rect 37 237 46 241
rect 25 229 33 233
rect 25 225 29 229
rect 40 225 43 237
rect 54 233 58 245
rect 69 241 72 253
rect 66 237 72 241
rect 50 229 62 233
rect 69 225 72 237
rect 21 221 29 225
rect 37 221 46 225
rect 66 221 72 225
rect 40 217 43 221
rect 69 217 72 221
rect 7 213 13 217
rect 37 213 46 217
rect 7 177 10 213
rect 25 205 33 209
rect 25 193 29 205
rect 40 201 43 213
rect 54 209 58 217
rect 66 213 72 217
rect 50 205 62 209
rect 37 197 46 201
rect 25 189 33 193
rect 25 185 29 189
rect 40 185 43 197
rect 54 193 58 205
rect 69 201 72 213
rect 66 197 72 201
rect 50 189 62 193
rect 69 185 72 197
rect 21 181 29 185
rect 37 181 46 185
rect 66 181 72 185
rect 40 177 43 181
rect 69 177 72 181
rect 7 173 13 177
rect 37 173 46 177
rect 7 137 10 173
rect 25 165 33 169
rect 25 153 29 165
rect 40 161 43 173
rect 54 169 58 177
rect 66 173 72 177
rect 50 165 62 169
rect 37 157 46 161
rect 25 149 33 153
rect 25 145 29 149
rect 40 145 43 157
rect 54 153 58 165
rect 69 161 72 173
rect 66 157 72 161
rect 50 149 62 153
rect 69 145 72 157
rect 21 141 29 145
rect 37 141 46 145
rect 66 141 72 145
rect 40 137 43 141
rect 69 137 72 141
rect 7 133 13 137
rect 37 133 46 137
rect 7 97 10 133
rect 25 125 33 129
rect 25 113 29 125
rect 40 121 43 133
rect 54 129 58 137
rect 66 133 72 137
rect 50 125 62 129
rect 37 117 46 121
rect 25 109 33 113
rect 25 105 29 109
rect 40 105 43 117
rect 54 113 58 125
rect 69 121 72 133
rect 66 117 72 121
rect 50 109 62 113
rect 69 105 72 117
rect 21 101 29 105
rect 37 101 46 105
rect 66 101 72 105
rect 40 97 43 101
rect 69 97 72 101
rect 7 93 13 97
rect 37 93 46 97
rect 7 57 10 93
rect 25 85 33 89
rect 25 73 29 85
rect 40 81 43 93
rect 54 89 58 97
rect 66 93 72 97
rect 50 85 62 89
rect 37 77 46 81
rect 25 69 33 73
rect 25 65 29 69
rect 40 65 43 77
rect 54 73 58 85
rect 69 81 72 93
rect 66 77 72 81
rect 50 69 62 73
rect 69 65 72 77
rect 21 61 29 65
rect 37 61 46 65
rect 66 61 72 65
rect 40 57 43 61
rect 69 57 72 61
rect 7 53 13 57
rect 37 53 46 57
rect 7 17 10 53
rect 25 45 33 49
rect 25 33 29 45
rect 40 41 43 53
rect 54 49 58 57
rect 66 53 72 57
rect 50 45 62 49
rect 37 37 46 41
rect 25 29 33 33
rect 25 25 29 29
rect 40 25 43 37
rect 54 33 58 45
rect 69 41 72 53
rect 66 37 72 41
rect 50 29 62 33
rect 69 25 72 37
rect 21 21 29 25
rect 37 21 46 25
rect 66 21 72 25
rect 40 17 43 21
rect 69 17 72 21
rect 7 13 13 17
rect 37 13 46 17
rect 7 -23 10 13
rect 25 5 33 9
rect 25 -7 29 5
rect 40 1 43 13
rect 54 9 58 17
rect 66 13 72 17
rect 50 5 62 9
rect 37 -3 46 1
rect 25 -11 33 -7
rect 25 -15 29 -11
rect 40 -15 43 -3
rect 54 -7 58 5
rect 69 1 72 13
rect 66 -3 72 1
rect 50 -11 62 -7
rect 69 -15 72 -3
rect 21 -19 29 -15
rect 37 -19 46 -15
rect 66 -19 72 -15
rect 40 -23 43 -19
rect 69 -23 72 -19
rect 7 -27 13 -23
rect 37 -27 46 -23
rect 7 -63 10 -27
rect 25 -35 33 -31
rect 25 -47 29 -35
rect 40 -39 43 -27
rect 54 -31 58 -23
rect 66 -27 72 -23
rect 50 -35 62 -31
rect 37 -43 46 -39
rect 25 -51 33 -47
rect 25 -55 29 -51
rect 40 -55 43 -43
rect 54 -47 58 -35
rect 69 -39 72 -27
rect 66 -43 72 -39
rect 50 -51 62 -47
rect 69 -55 72 -43
rect 21 -59 29 -55
rect 37 -59 46 -55
rect 66 -59 72 -55
rect 40 -63 43 -59
rect 69 -63 72 -59
rect 7 -67 13 -63
rect 37 -67 46 -63
rect 7 -103 10 -67
rect 25 -75 33 -71
rect 25 -87 29 -75
rect 40 -79 43 -67
rect 54 -71 58 -63
rect 66 -67 72 -63
rect 50 -75 62 -71
rect 37 -83 46 -79
rect 25 -91 33 -87
rect 25 -95 29 -91
rect 40 -95 43 -83
rect 54 -87 58 -75
rect 69 -79 72 -67
rect 66 -83 72 -79
rect 50 -91 62 -87
rect 69 -95 72 -83
rect 21 -99 29 -95
rect 37 -99 46 -95
rect 66 -99 72 -95
rect 40 -103 43 -99
rect 69 -103 72 -99
<< m2contact >>
rect 54 537 58 541
rect 54 497 58 501
rect 54 457 58 461
rect 54 417 58 421
rect 54 377 58 381
rect 54 337 58 341
rect 54 297 58 301
rect 54 257 58 261
rect 54 217 58 221
rect 54 177 58 181
rect 54 137 58 141
rect 54 97 58 101
rect 54 57 58 61
rect 54 17 58 21
rect 54 -23 58 -19
rect 54 -63 58 -59
<< metal2 >>
rect 58 537 73 541
rect 58 497 73 501
rect 58 457 73 461
rect 58 417 73 421
rect 58 377 73 381
rect 58 337 73 341
rect 58 297 73 301
rect 58 257 73 261
rect 58 217 73 221
rect 58 177 73 181
rect 58 137 73 141
rect 58 97 73 101
rect 58 57 73 61
rect 58 17 73 21
rect 58 -23 73 -19
rect 58 -63 73 -59
<< labels >>
rlabel metal1 2 -101 2 -101 1 A
rlabel metal1 8 -101 8 -101 1 GND
rlabel metal1 41 -99 41 -99 1 Vdd
rlabel metal1 70 -102 70 -102 8 GND
rlabel metal1 -5 -101 -5 -101 1 A_b
rlabel metal1 -12 -101 -12 -101 1 B
rlabel metal1 -19 -101 -19 -101 1 B_b
rlabel metal1 -26 -101 -26 -101 1 C
rlabel metal1 -32 -101 -32 -101 1 C_b
rlabel metal1 -40 -101 -40 -101 1 D
rlabel metal1 -47 -101 -47 -101 2 D_b
rlabel metal2 67 539 67 539 5 w0
rlabel metal2 67 499 67 499 1 w1
rlabel metal2 67 459 67 459 1 w2
rlabel metal2 67 419 67 419 1 w3
rlabel metal2 67 379 67 379 1 w4
rlabel metal2 67 339 67 339 1 w5
rlabel metal2 67 299 67 299 1 w6
rlabel metal2 68 259 68 259 7 w7
rlabel metal2 68 219 68 219 7 w8
rlabel metal2 68 179 68 179 7 w9
rlabel metal2 68 139 68 139 7 w10
rlabel metal2 68 99 68 99 7 w11
rlabel metal2 68 59 68 59 7 w12
rlabel metal2 68 19 68 19 7 w13
rlabel metal2 68 -21 68 -21 7 w14
rlabel metal2 68 -61 68 -61 7 w15
<< end >>
